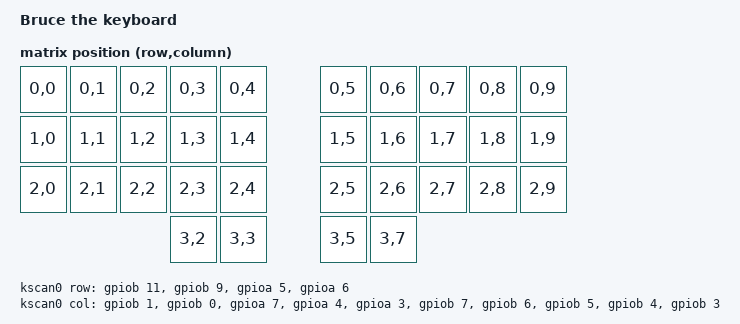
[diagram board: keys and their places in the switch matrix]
/*
 * Copyright (c) 2024 The ZMK Contributors
 *
 * SPDX-License-Identifier: MIT
 */

/dts-v1/;
#include <st/f0/stm32f072Xb.dtsi>
#include <st/f0/stm32f072c(8-b)tx-pinctrl.dtsi>
#include <dt-bindings/zmk/matrix_transform.h>

/ {
    model = "Bruce the keyboard";
    compatible = "josh-l-wang,bruce", "st,stm32f072";

    chosen {
        zephyr,sram = &sram0;
        zephyr,flash = &flash0;
        zephyr,console = &cdc_acm_uart;

        zmk,kscan = &kscan0;
        zmk,matrix_transform = &default_transform;

        default_transform: keymap_transform_0 {
            compatible = "zmk,matrix-transform";
            columns = <10>;
            rows = <4>;
            map = <
                RC(0,0) RC(0,1) RC(0,2) RC(0,3) RC(0,4) RC(0,5) RC(0,6) RC(0,7) RC(0,8) RC(0,9)
                RC(1,0) RC(1,1) RC(1,2) RC(1,3) RC(1,4) RC(1,5) RC(1,6) RC(1,7) RC(1,8) RC(1,9)
                RC(2,0) RC(2,1) RC(2,2) RC(2,3) RC(2,4) RC(2,5) RC(2,6) RC(2,7) RC(2,8) RC(2,9)
                RC(3,2) RC(3,3) RC(3,5) RC(3,7)
            >;
        };

        kscan0: kscan_0 {
            compatible = "zmk,kscan-gpio-matrix";
            label = "KSCAN";
            diode-direction = "col2row";

            col-gpios
                = <&gpiob 1 GPIO_ACTIVE_HIGH>
                , <&gpiob 0 GPIO_ACTIVE_HIGH>
                , <&gpioa 7 GPIO_ACTIVE_HIGH>
                , <&gpioa 4 GPIO_ACTIVE_HIGH>
                , <&gpioa 3 GPIO_ACTIVE_HIGH>
                , <&gpiob 7 GPIO_ACTIVE_HIGH>
                , <&gpiob 6 GPIO_ACTIVE_HIGH>
                , <&gpiob 5 GPIO_ACTIVE_HIGH>
                , <&gpiob 4 GPIO_ACTIVE_HIGH>
                , <&gpiob 3 GPIO_ACTIVE_HIGH>
                ;

            row-gpios
                = <&gpiob 11 (GPIO_ACTIVE_HIGH | GPIO_PULL_DOWN)>
                , <&gpiob 9 (GPIO_ACTIVE_HIGH | GPIO_PULL_DOWN)>
                , <&gpioa 5 (GPIO_ACTIVE_HIGH | GPIO_PULL_DOWN)>
                , <&gpioa 6 (GPIO_ACTIVE_HIGH | GPIO_PULL_DOWN)>
                ;
        };
    };

};

&clk_hsi {
    status = "okay";
};

&pll {
    status = "okay";
    prediv = <1>;
    mul = <6>;
    clocks = <&clk_hsi>;
};

&rcc {
    clocks = <&pll>;
    clock-frequency = <DT_FREQ_M(48)>;
    ahb-prescaler = <1>;
    apb1-prescaler = <1>;
};

&usb {
    status = "okay";
    pinctrl-0 = <&usb_dm_pa11 &usb_dp_pa12>;
    pinctrl-names = "default";
    cdc_acm_uart: cdc_acm_uart {
        compatible = "zephyr,cdc-acm-uart";
    };
};

&rtc {
    status = "okay";
};

&flash0 {
    /*
     * For more information, see:
     * http://docs.zephyrproject.org/latest/guides/dts/index.html#flash-partitions
     */
    partitions {
        compatible = "fixed-partitions";
        #address-cells = <1>;
        #size-cells = <1>;

        /* Set 6Kb of storage at the end of the 128Kb of flash */
        storage_partition: partition@3e800 {
            reg = <0x0001e800 0x00001800>;
        };
    };
};

